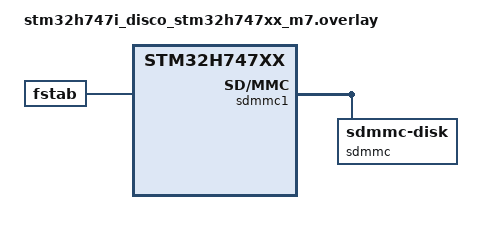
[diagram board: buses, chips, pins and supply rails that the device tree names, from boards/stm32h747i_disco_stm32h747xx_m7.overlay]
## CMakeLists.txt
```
# SPDX-License-Identifier: Apache-2.0

cmake_minimum_required(VERSION 3.20.0)
find_package(Zephyr REQUIRED HINTS $ENV{ZEPHYR_BASE})
project(lvgl)

FILE(GLOB app_sources src/*.c)
target_sources(app PRIVATE ${app_sources})
```

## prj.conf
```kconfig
CONFIG_ZTEST=y

CONFIG_DISPLAY=y
CONFIG_SDL_DISPLAY=n
CONFIG_DUMMY_DISPLAY=y

CONFIG_LOG=y

CONFIG_FLASH=y
CONFIG_FLASH_MAP=y
CONFIG_FILE_SYSTEM=y
CONFIG_FILE_SYSTEM_LITTLEFS=y

CONFIG_LVGL=y
CONFIG_LV_Z_MEM_POOL_SIZE=16384
CONFIG_LV_Z_USE_FILESYSTEM=y
CONFIG_LV_MEM_CUSTOM=y
CONFIG_LV_USE_LOG=y
CONFIG_LV_COLOR_DEPTH_32=y
CONFIG_LV_COLOR_SCREEN_TRANSP=y
CONFIG_LV_USE_BIDI=y
CONFIG_LV_USE_ARABIC_PERSIAN_CHARS=y
CONFIG_LV_USE_LABEL=y
CONFIG_LV_LABEL_TEXT_SELECTION=y
CONFIG_LV_LABEL_LONG_TXT_HINT=y
CONFIG_LV_USE_IMG=y
CONFIG_LV_USE_LINE=y
CONFIG_LV_USE_ARC=y
CONFIG_LV_USE_WIN=y
CONFIG_LV_USE_TABVIEW=y
CONFIG_LV_USE_TILEVIEW=y
CONFIG_LV_USE_CALENDAR=y
CONFIG_LV_CALENDAR_WEEK_STARTS_MONDAY=y
CONFIG_LV_USE_SPINNER=y
CONFIG_LV_USE_CANVAS=y
CONFIG_LV_USE_BAR=y
CONFIG_LV_USE_CHART=y
CONFIG_LV_USE_TABLE=y
CONFIG_LV_USE_LED=y
CONFIG_LV_USE_MSGBOX=y
CONFIG_LV_USE_TEXTAREA=y
CONFIG_LV_USE_SPINBOX=y
CONFIG_LV_USE_BTN=y
CONFIG_LV_USE_IMGBTN=y
CONFIG_LV_USE_BTNMATRIX=y
CONFIG_LV_USE_KEYBOARD=y
CONFIG_LV_USE_CHECKBOX=y
CONFIG_LV_USE_LIST=y
CONFIG_LV_USE_DROPDOWN=y
CONFIG_LV_USE_ROLLER=y
CONFIG_LV_USE_SLIDER=y
CONFIG_LV_USE_SWITCH=y
CONFIG_LV_USE_LED=y
CONFIG_LV_FONT_MONTSERRAT_8=y
CONFIG_LV_FONT_MONTSERRAT_10=y
CONFIG_LV_FONT_MONTSERRAT_12=y
CONFIG_LV_FONT_MONTSERRAT_14=y
CONFIG_LV_FONT_MONTSERRAT_16=y
CONFIG_LV_FONT_MONTSERRAT_18=y
CONFIG_LV_FONT_MONTSERRAT_20=y
CONFIG_LV_FONT_MONTSERRAT_22=y
CONFIG_LV_FONT_MONTSERRAT_24=y
CONFIG_LV_FONT_MONTSERRAT_26=y
CONFIG_LV_FONT_MONTSERRAT_28=y
CONFIG_LV_FONT_MONTSERRAT_30=y
CONFIG_LV_FONT_MONTSERRAT_32=y
CONFIG_LV_FONT_MONTSERRAT_34=y
CONFIG_LV_FONT_MONTSERRAT_36=y
CONFIG_LV_FONT_MONTSERRAT_38=y
CONFIG_LV_FONT_MONTSERRAT_40=y
CONFIG_LV_FONT_MONTSERRAT_42=y
CONFIG_LV_FONT_MONTSERRAT_44=y
CONFIG_LV_FONT_MONTSERRAT_46=y
CONFIG_LV_FONT_MONTSERRAT_48=y
CONFIG_LV_FONT_MONTSERRAT_12_SUBPX=y
CONFIG_LV_FONT_MONTSERRAT_28_COMPRESSED=y
CONFIG_LV_FONT_DEJAVU_16_PERSIAN_HEBREW=y
CONFIG_LV_FONT_SIMSUN_16_CJK=y
CONFIG_LV_FONT_UNSCII_8=y
CONFIG_LV_USE_FONT_COMPRESSED=y
CONFIG_LV_USE_FONT_SUBPX=y
```

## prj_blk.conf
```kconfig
CONFIG_DISK_DRIVERS=y
CONFIG_DISK_ACCESS=y

CONFIG_FS_LITTLEFS_BLK_DEV=y

CONFIG_FS_LITTLEFS_FC_HEAP_SIZE=2048
CONFIG_MAIN_STACK_SIZE=2048

CONFIG_FLASH=n
CONFIG_FLASH_MAP=n
```

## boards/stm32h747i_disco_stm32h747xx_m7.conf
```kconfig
CONFIG_FS_LITTLEFS_FC_HEAP_SIZE=2048
CONFIG_MAIN_STACK_SIZE=2048

CONFIG_DUMMY_DISPLAY=n

CONFIG_NOCACHE_MEMORY=y
```

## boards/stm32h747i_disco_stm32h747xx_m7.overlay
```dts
/*
 * Copyright (c) 2024 STMicroelectronics
 *
 * SPDX-License-Identifier: Apache-2.0
 */

&sdmmc1 {
	sdmmc {
		compatible = "zephyr,sdmmc-disk";
	};
};

/delete-node/ &storage_partition;

&flash0 {
	partitions {
		partition@ff800 {
			reg = <0x000ff800 DT_SIZE_K(2)>;
		};
	};
};

/ {
	fstab {
		compatible = "zephyr,fstab";
		lfs1: lfs1 {
			compatible = "zephyr,fstab,littlefs";
			read-size = <32>;
			prog-size = <32>;
			cache-size = <256>;
			lookahead-size = <64>;
			block-cycles = <512>;
			partition = <&storage_partition>;
			mount-point = "/lfs1";
		};
	};
};

&mt25ql512ab1 {
	partitions {
		storage_partition: partition@0 {
			reg = <0x0 DT_SIZE_M(64)>;
			label = "storage";
		};
	};
};
```

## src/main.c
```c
/*
 * Copyright (c) 2019 Jan Van Winkel <jan.van_winkel@dxplore.eu>
 * Copyright (c) 2024 STMicroelectronics
 *
 * SPDX-License-Identifier: Apache-2.0
 */

#include "img.h"

#include <zephyr/kernel.h>
#include <zephyr/device.h>
#include <zephyr/fs/fs.h>
#include <zephyr/fs/littlefs.h>
#include <zephyr/ztest.h>

#include <lvgl.h>

#ifdef CONFIG_FS_LITTLEFS_BLK_DEV

#ifdef CONFIG_DISK_DRIVER_SDMMC
#define DISK_NAME CONFIG_SDMMC_VOLUME_NAME
#elif defined(CONFIG_DISK_DRIVER_MMC)
#define DISK_NAME CONFIG_MMC_VOLUME_NAME
#else
#error "No disk device defined, is your board supported?"
#endif /* CONFIG_DISK_DRIVER_SDMMC */

#define IMG_FILE_PATH "/"DISK_NAME":/img.bin"

struct fs_littlefs lfsfs;

static struct fs_mount_t mnt = {
	.type = FS_LITTLEFS,
	.fs_data = &lfsfs,
	.storage_dev = (void *)DISK_NAME,
	.mnt_point = "/"DISK_NAME":",
	.flags = FS_MOUNT_FLAG_USE_DISK_ACCESS,
};

#else /* CONFIG_FS_LITTLEFS_BLK_DEV */

#define IMG_FILE_PATH "/mnt/img.bin"

#define LVGL_PARTITION		storage_partition
#define LVGL_PARTITION_ID	FIXED_PARTITION_ID(LVGL_PARTITION)

FS_LITTLEFS_DECLARE_DEFAULT_CONFIG(cstorage);

static struct fs_mount_t mnt = {
	.type = FS_LITTLEFS,
	.fs_data = &cstorage,
	.storage_dev = (void *)LVGL_PARTITION_ID,
	.mnt_point = "/mnt"
};
#endif /* CONFIG_FS_LITTLEFS_BLK_DEV */

ZTEST(lvgl_screen, test_get_default_screen)
{
	zassert_not_null(lv_scr_act(), "No default screen");
}

ZTEST(lvgl_screen, test_add_delete_screen)
{
	lv_obj_t *default_screen = lv_scr_act();

	zassert_not_null(default_screen, "No default screen");

	lv_obj_t *new_screen = lv_obj_create(NULL);

	zassert_not_null(new_screen, "Failed to create new screen");

	lv_scr_load(new_screen);

	lv_obj_t *act_screen = lv_scr_act();

	zassert_equal_ptr(act_screen, new_screen, "New screen not active");

	lv_scr_load(default_screen);

	lv_obj_del(new_screen);

	act_screen = lv_scr_act();
	zassert_equal_ptr(act_screen, default_screen,
			"Default screen not active");

}
ZTEST_USER(lvgl_fs, test_add_img)
{
	lv_obj_t *img = lv_img_create(lv_scr_act());

	zassert_not_null(img, "Failed to create image");

	lv_img_set_src(img, IMG_FILE_PATH);
	lv_obj_align(img, LV_ALIGN_CENTER, 0, 0);
}


void *setup_fs(void)
{
	struct fs_file_t img;
	struct fs_dirent info;
	int ret;
	const lv_img_dsc_t *c_img = get_lvgl_img();

	ret = fs_mount(&mnt);
	if (ret < 0) {
		TC_PRINT("Failed to mount file system: %d\n", ret);
		ztest_test_fail();
		return NULL;
	}

	ret = fs_stat(IMG_FILE_PATH, &info);
	if ((ret == 0) && (info.type == FS_DIR_ENTRY_FILE)) {
		return NULL;
	}

	fs_file_t_init(&img);
	ret = fs_open(&img, IMG_FILE_PATH, FS_O_CREATE | FS_O_WRITE);
	if (ret < 0) {
		TC_PRINT("Failed to open image file: %d\n", ret);
		ztest_test_fail();
		return NULL;
	}

	ret = fs_write(&img, &c_img->header, sizeof(lv_img_header_t));
	if (ret < 0) {
		TC_PRINT("Failed to write image file header: %d\n", ret);
		ztest_test_fail();
		return NULL;
	}

	ret = fs_write(&img, c_img->data, c_img->data_size);
	if (ret < 0) {
		TC_PRINT("Failed to write image file data: %d\n", ret);
		ztest_test_fail();
		return NULL;
	}

	ret = fs_close(&img);
	if (ret < 0) {
		TC_PRINT("Failed to close image file: %d\n", ret);
		ztest_test_fail();
		return NULL;
	}
	return NULL;
}

void teardown_fs(void *data)
{
	return;
}

ZTEST_SUITE(lvgl_screen, NULL, NULL, NULL, NULL, NULL);
ZTEST_SUITE(lvgl_fs, NULL, setup_fs, NULL, NULL, teardown_fs);
```

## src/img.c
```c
/*
 * Copyright (c) 2019 Jan Van Winkel <jan.van_winkel@dxplore.eu>
 *
 * SPDX-License-Identifier: Apache-2.0
 */

#include <zephyr/kernel.h>
#include "img.h"

static const uint8_t img_data[] = {
	0x00, 0x00, 0x00, 0x00,	/* Index color 0 */
	0x00, 0xff, 0x00, 0x00,	/* Index color 1 */

/* 0 */
	0xff, 0xff, 0xff, 0xff, 0xff, 0xff, 0xff, 0xff, 0xff, 0xff, 0xff, 0xff,
	0xff, 0xff, 0xff, 0xff, 0xff, 0xff, 0xff, 0xff, 0xff, 0xff, 0xff, 0xff,
	0xff, 0xff, 0xff, 0xff, 0xff, 0xff, 0xff, 0xff, 0xff, 0xff, 0xff, 0xff,
	0xff, 0xff, 0xff, 0xff, 0xff, 0xff, 0xff, 0xff, 0xff, 0xff, 0xff, 0xff,
	0xff, 0xff, 0xff, 0xff, 0xff, 0xff, 0xff, 0xff, 0xff, 0xff, 0xff, 0xff,
	0xff, 0x00, 0x00, 0x00, 0x00, 0x00, 0x00, 0x00, 0x00, 0x00, 0x00, 0xff,
	0xff, 0x00, 0x00, 0x00, 0x00, 0x00, 0x00, 0x00, 0x00, 0x00, 0x00, 0xff,
	0xff, 0x00, 0x00, 0x00, 0x00, 0x00, 0x00, 0x00, 0x00, 0x00, 0x00, 0xff,
	0xff, 0x00, 0x00, 0x00, 0x00, 0x00, 0x00, 0x00, 0x00, 0x00, 0x00, 0xff,
	0xff, 0x00, 0x00, 0x00, 0x00, 0x00, 0x00, 0x00, 0x00, 0x00, 0x00, 0xff,
/* 10 */
	0xff, 0xff, 0xff, 0xff, 0xff, 0xff, 0xff, 0xff, 0xff, 0xff, 0xff, 0xff,
	0xff, 0xff, 0xff, 0xff, 0xff, 0xff, 0xff, 0xff, 0xff, 0xff, 0xff, 0xff,
	0xff, 0xff, 0xff, 0xff, 0xff, 0xff, 0xff, 0xff, 0xff, 0xff, 0xff, 0xff,
	0xff, 0xff, 0xff, 0xff, 0xff, 0xff, 0xff, 0xff, 0xff, 0xff, 0xff, 0xff,
	0xff, 0xff, 0xff, 0xff, 0xff, 0xff, 0xff, 0xff, 0xff, 0xff, 0xff, 0xff,
	0xff, 0x00, 0x00, 0x00, 0x00, 0x00, 0x00, 0x00, 0x00, 0x00, 0x00, 0xff,
	0xff, 0x00, 0x00, 0x00, 0x00, 0x00, 0x00, 0x00, 0x00, 0x00, 0x00, 0xff,
	0xff, 0x00, 0x00, 0x00, 0x00, 0x00, 0x00, 0x00, 0x00, 0x00, 0x00, 0xff,
	0xff, 0x00, 0x00, 0x00, 0x00, 0x00, 0x00, 0x00, 0x00, 0x00, 0x00, 0xff,
	0xff, 0x00, 0x00, 0x00, 0x00, 0x00, 0x00, 0x00, 0x00, 0x00, 0x00, 0xff,
/* 20 */
	0xff, 0xff, 0xff, 0xff, 0xff, 0xff, 0xff, 0xff, 0xff, 0xff, 0xff, 0xff,
	0xff, 0xff, 0xff, 0xff, 0xff, 0xff, 0xff, 0xff, 0xff, 0xff, 0xff, 0xff,
	0xff, 0xff, 0xff, 0xff, 0xff, 0xff, 0xff, 0xff, 0xff, 0xff, 0xff, 0xff,
	0xff, 0xff, 0xff, 0xff, 0xff, 0xff, 0xff, 0xff, 0xff, 0xff, 0xff, 0xff,
	0xff, 0xff, 0xff, 0xff, 0xff, 0xff, 0xff, 0xff, 0xff, 0xff, 0xff, 0xff,
	0xff, 0x00, 0x00, 0x00, 0x00, 0x00, 0x00, 0x00, 0x00, 0x00, 0x00, 0xff,
	0xff, 0x00, 0x00, 0x00, 0x00, 0x00, 0x00, 0x00, 0x00, 0x00, 0x00, 0xff,
	0xff, 0x00, 0x00, 0x00, 0x00, 0x00, 0x00, 0x00, 0x00, 0x00, 0x00, 0xff,
	0xff, 0x00, 0x00, 0x00, 0x00, 0x00, 0x00, 0x00, 0x00, 0x00, 0x00, 0xff,
	0xff, 0x00, 0x00, 0x00, 0x00, 0x00, 0x00, 0x00, 0x00, 0x00, 0x00, 0xff,
/* 30 */
	0xff, 0xff, 0xff, 0xff, 0xff, 0xff, 0xff, 0xff, 0xff, 0xff, 0xff, 0xff,
	0xff, 0xff, 0xff, 0xff, 0xff, 0xff, 0xff, 0xff, 0xff, 0xff, 0xff, 0xff,
	0xff, 0xff, 0xff, 0xff, 0xff, 0xff, 0xff, 0xff, 0xff, 0xff, 0xff, 0xff,
	0xff, 0xff, 0xff, 0xff, 0xff, 0xff, 0xff, 0xff, 0xff, 0xff, 0xff, 0xff,
	0xff, 0xff, 0xff, 0xff, 0xff, 0xff, 0xff, 0xff, 0xff, 0xff, 0xff, 0xff,
	0xff, 0x00, 0x00, 0x00, 0x00, 0x00, 0x00, 0x00, 0x00, 0x00, 0x00, 0xff,
	0xff, 0x00, 0x00, 0x00, 0x00, 0x00, 0x00, 0x00, 0x00, 0x00, 0x00, 0xff,
	0xff, 0x00, 0x00, 0x00, 0x00, 0x00, 0x00, 0x00, 0x00, 0x00, 0x00, 0xff,
	0xff, 0x00, 0x00, 0x00, 0x00, 0x00, 0x00, 0x00, 0x00, 0x00, 0x00, 0xff,
	0xff, 0x00, 0x00, 0x00, 0x00, 0x00, 0x00, 0x00, 0x00, 0x00, 0x00, 0xff,
/* 40 */
	0xff, 0xff, 0xff, 0xff, 0xff, 0xff, 0xff, 0xff, 0xff, 0xff, 0xff, 0xff,
	0xff, 0xff, 0xff, 0xff, 0xff, 0xff, 0xff, 0xff, 0xff, 0xff, 0xff, 0xff,
	0xff, 0xff, 0xff, 0xff, 0xff, 0xff, 0xff, 0xff, 0xff, 0xff, 0xff, 0xff,
	0xff, 0xff, 0xff, 0xff, 0xff, 0xff, 0xff, 0xff, 0xff, 0xff, 0xff, 0xff,
	0xff, 0xff, 0xff, 0xff, 0xff, 0xff, 0xff, 0xff, 0xff, 0xff, 0xff, 0xff,
	0xff, 0x00, 0x00, 0x00, 0x00, 0x00, 0x00, 0x00, 0x00, 0x00, 0x00, 0xff,
	0xff, 0x00, 0x00, 0x00, 0x00, 0x00, 0x00, 0x00, 0x00, 0x00, 0x00, 0xff,
	0xff, 0x00, 0x00, 0x00, 0x00, 0x00, 0x00, 0x00, 0x00, 0x00, 0x00, 0xff,
	0xff, 0x00, 0x00, 0x00, 0x00, 0x00, 0x00, 0x00, 0x00, 0x00, 0x00, 0xff,
	0xff, 0x00, 0x00, 0x00, 0x00, 0x00, 0x00, 0x00, 0x00, 0x00, 0x00, 0xff,
/* 50 */
	0xff, 0xff, 0xff, 0xff, 0xff, 0xff, 0xff, 0xff, 0xff, 0xff, 0xff, 0xff,
	0xff, 0xff, 0xff, 0xff, 0xff, 0xff, 0xff, 0xff, 0xff, 0xff, 0xff, 0xff,
	0xff, 0xff, 0xff, 0xff, 0xff, 0xff, 0xff, 0xff, 0xff, 0xff, 0xff, 0xff,
	0xff, 0xff, 0xff, 0xff, 0xff, 0xff, 0xff, 0xff, 0xff, 0xff, 0xff, 0xff,
	0xff, 0xff, 0xff, 0xff, 0xff, 0xff, 0xff, 0xff, 0xff, 0xff, 0xff, 0xff,
	0xff, 0x00, 0x00, 0x00, 0x00, 0x00, 0x00, 0x00, 0x00, 0x00, 0x00, 0xff,
	0xff, 0x00, 0x00, 0x00, 0x00, 0x00, 0x00, 0x00, 0x00, 0x00, 0x00, 0xff,
	0xff, 0x00, 0x00, 0x00, 0x00, 0x00, 0x00, 0x00, 0x00, 0x00, 0x00, 0xff,
	0xff, 0x00, 0x00, 0x00, 0x00, 0x00, 0x00, 0x00, 0x00, 0x00, 0x00, 0xff,
	0xff, 0x00, 0x00, 0x00, 0x00, 0x00, 0x00, 0x00, 0x00, 0x00, 0x00, 0xff,
/* 60 */
	0xff, 0xff, 0xff, 0xff, 0xff, 0xff, 0xff, 0xff, 0xff, 0xff, 0xff, 0xff,
	0xff, 0xff, 0xff, 0xff, 0xff, 0xff, 0xff, 0xff, 0xff, 0xff, 0xff, 0xff,
	0xff, 0xff, 0xff, 0xff, 0xff, 0xff, 0xff, 0xff, 0xff, 0xff, 0xff, 0xff,
	0xff, 0xff, 0xff, 0xff, 0xff, 0xff, 0xff, 0xff, 0xff, 0xff, 0xff, 0xff,
	0xff, 0xff, 0xff, 0xff, 0xff, 0xff, 0xff, 0xff, 0xff, 0xff, 0xff, 0xff,
	0xff, 0x00, 0x00, 0x00, 0x00, 0x00, 0x00, 0x00, 0x00, 0x00, 0x00, 0xff,
	0xff, 0x00, 0x00, 0x00, 0x00, 0x00, 0x00, 0x00, 0x00, 0x00, 0x00, 0xff,
	0xff, 0x00, 0x00, 0x00, 0x00, 0x00, 0x00, 0x00, 0x00, 0x00, 0x00, 0xff,
	0xff, 0x00, 0x00, 0x00, 0x00, 0x00, 0x00, 0x00, 0x00, 0x00, 0x00, 0xff,
	0xff, 0x00, 0x00, 0x00, 0x00, 0x00, 0x00, 0x00, 0x00, 0x00, 0x00, 0xff,
/* 70 */
	0xff, 0xff, 0xff, 0xff, 0xff, 0xff, 0xff, 0xff, 0xff, 0xff, 0xff, 0xff,
	0xff, 0xff, 0xff, 0xff, 0xff, 0xff, 0xff, 0xff, 0xff, 0xff, 0xff, 0xff,
	0xff, 0xff, 0xff, 0xff, 0xff, 0xff, 0xff, 0xff, 0xff, 0xff, 0xff, 0xff,
	0xff, 0xff, 0xff, 0xff, 0xff, 0xff, 0xff, 0xff, 0xff, 0xff, 0xff, 0xff,
	0xff, 0xff, 0xff, 0xff, 0xff, 0xff, 0xff, 0xff, 0xff, 0xff, 0xff, 0xff,
	0xff, 0x00, 0x00, 0x00, 0x00, 0x00, 0x00, 0x00, 0x00, 0x00, 0x00, 0xff,
	0xff, 0x00, 0x00, 0x00, 0x00, 0x00, 0x00, 0x00, 0x00, 0x00, 0x00, 0xff,
	0xff, 0x00, 0x00, 0x00, 0x00, 0x00, 0x00, 0x00, 0x00, 0x00, 0x00, 0xff,
	0xff, 0x00, 0x00, 0x00, 0x00, 0x00, 0x00, 0x00, 0x00, 0x00, 0x00, 0xff,
	0xff, 0x00, 0x00, 0x00, 0x00, 0x00, 0x00, 0x00, 0x00, 0x00, 0x00, 0xff,
/* 80 */
	0xff, 0xff, 0xff, 0xff, 0xff, 0xff, 0xff, 0xff, 0xff, 0xff, 0xff, 0xff,
	0xff, 0xff, 0xff, 0xff, 0xff, 0xff, 0xff, 0xff, 0xff, 0xff, 0xff, 0xff,
	0xff, 0xff, 0xff, 0xff, 0xff, 0xff, 0xff, 0xff, 0xff, 0xff, 0xff, 0xff,
	0xff, 0xff, 0xff, 0xff, 0xff, 0xff, 0xff, 0xff, 0xff, 0xff, 0xff, 0xff,
	0xff, 0xff, 0xff, 0xff, 0xff, 0xff, 0xff, 0xff, 0xff, 0xff, 0xff, 0xff,
	0xff, 0x00, 0x00, 0x00, 0x00, 0x00, 0x00, 0x00, 0x00, 0x00, 0x00, 0xff,
	0xff, 0x00, 0x00, 0x00, 0x00, 0x00, 0x00, 0x00, 0x00, 0x00, 0x00, 0xff,
	0xff, 0x00, 0x00, 0x00, 0x00, 0x00, 0x00, 0x00, 0x00, 0x00, 0x00, 0xff,
	0xff, 0x00, 0x00, 0x00, 0x00, 0x00, 0x00, 0x00, 0x00, 0x00, 0x00, 0xff,
	0xff, 0x00, 0x00, 0x00, 0x00, 0x00, 0x00, 0x00, 0x00, 0x00, 0x00, 0xff,
/* 90 */
	0xff, 0xff, 0xff, 0xff, 0xff, 0xff, 0xff, 0xff, 0xff, 0xff, 0xff, 0xff,
	0xff, 0xff, 0xff, 0xff, 0xff, 0xff, 0xff, 0xff, 0xff, 0xff, 0xff, 0xff,
	0xff, 0xff, 0xff, 0xff, 0xff, 0xff, 0xff, 0xff, 0xff, 0xff, 0xff, 0xff,
	0xff, 0xff, 0xff, 0xff, 0xff, 0xff, 0xff, 0xff, 0xff, 0xff, 0xff, 0xff,
	0xff, 0xff, 0xff, 0xff, 0xff, 0xff, 0xff, 0xff, 0xff, 0xff, 0xff, 0xff,
	0xff, 0xff, 0xff, 0xff, 0xff, 0xff, 0xff, 0xff, 0xff, 0xff, 0xff, 0xff,
/* 96 */
};

static lv_img_dsc_t img_dsc = {
	.header.always_zero = 0,
	.header.w = 96,
	.header.h = 96,
	.data_size = sizeof(img_data),
	.header.cf = LV_IMG_CF_INDEXED_1BIT,
	.data = img_data,
};


const lv_img_dsc_t *get_lvgl_img(void)
{
	return &img_dsc;
}
```
